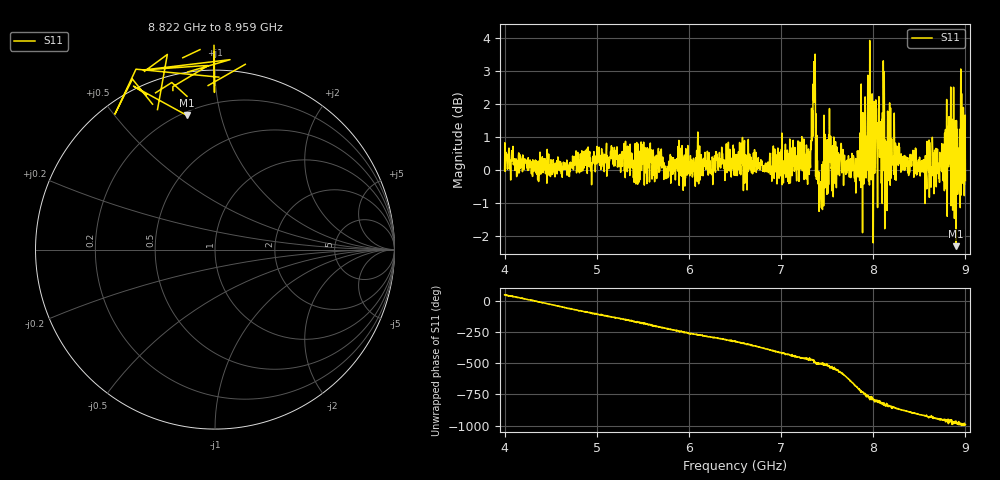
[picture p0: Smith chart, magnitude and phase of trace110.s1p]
! Created with skrf 1.8.0 (http://scikit-rf.org).
# Hz S RI R 50.0
!freq ReS11 ImS11
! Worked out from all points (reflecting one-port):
!   1601 points, 4 GHz to 9 GHz, reference 50 ohm
!   lowest |S11| = -2.3 dB at 8.9 GHz (marker M1), VSWR 7.53, Z = 10.9 + j39.3 ohm
!   phase of S11 starts at 52 deg and turns -1044 deg over the sweep
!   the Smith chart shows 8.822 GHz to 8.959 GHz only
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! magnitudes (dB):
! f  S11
! 4 GHz  0.0
! 4.625 GHz  -0.2
! 5.25 GHz  0.2
! 5.875 GHz  0.3
! 6.5 GHz  0.4
! 7.125 GHz  0.1
! 7.294 GHz  0.5
! 7.356 GHz  3.3
! 7.372 GHz  2.3
! 7.4 GHz  -0.4
! 7.428 GHz  -0.5
! 7.503 GHz  0.7
! 7.575 GHz  0.6
! 7.75 GHz  0.0
! 7.816 GHz  -0.2
! 7.903 GHz  0.3
! 7.962 GHz  3.9
! 7.997 GHz  0.4
! 8.009 GHz  2.1
! 8.097 GHz  -1.0
! 8.15 GHz  -1.2
! 8.181 GHz  0.1
! 8.375 GHz  0.4
! 8.778 GHz  -0.1
! 8.816 GHz  0.1
! 8.9 GHz  -2.3
! 8.972 GHz  0.7
! 9 GHz  -0.3
